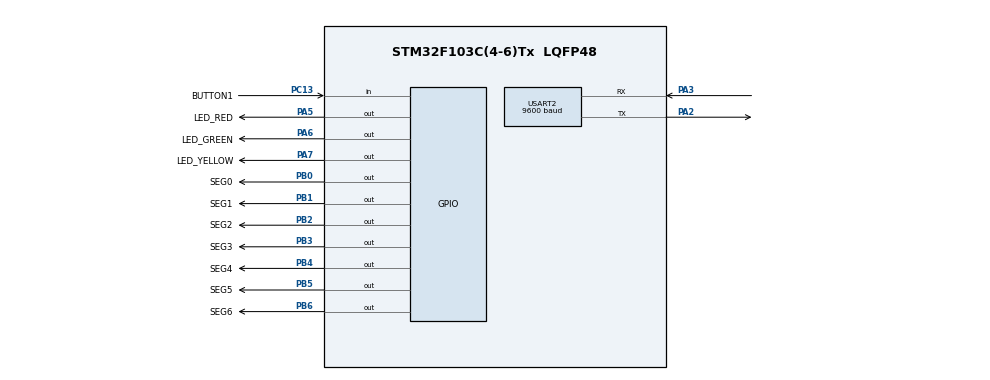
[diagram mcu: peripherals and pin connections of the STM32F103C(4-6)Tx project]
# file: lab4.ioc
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Mcu.Family=STM32F1
Mcu.Name=STM32F103C(4-6)Tx
Mcu.Package=LQFP48
NVIC.PriorityGroup=NVIC_PRIORITYGROUP_4
NVIC.TIM2_IRQn=true\:0\:0\:false\:false\:true\:true\:true\:true
NVIC.USART2_IRQn=true\:0\:0\:false\:false\:true\:true\:true\:true
PA2.Mode=Asynchronous
PA2.Signal=USART2_TX
PA3.Mode=Asynchronous
PA3.Signal=USART2_RX
PA5.GPIO_Label=LED_RED
PA5.Signal=GPIO_Output
PA6.GPIO_Label=LED_GREEN
PA6.Signal=GPIO_Output
PA7.GPIO_Label=LED_YELLOW
PA7.Signal=GPIO_Output
PB0.GPIO_Label=SEG0
PB0.Signal=GPIO_Output
PB1.GPIO_Label=SEG1
PB1.Signal=GPIO_Output
PB2.GPIO_Label=SEG2
PB2.Signal=GPIO_Output
PB3.GPIO_Label=SEG3
PB3.Signal=GPIO_Output
PB4.GPIO_Label=SEG4
PB4.Signal=GPIO_Output
PB5.GPIO_Label=SEG5
PB5.Signal=GPIO_Output
PB6.GPIO_Label=SEG6
PB6.Signal=GPIO_Output
PC13-TAMPER-RTC.GPIO_Label=BUTTON1
PC13-TAMPER-RTC.GPIO_PuPd=GPIO_PULLUP
PC13-TAMPER-RTC.Signal=GPIO_Input
ProjectManager.HeapSize=0x200
ProjectManager.StackSize=0x400
ProjectManager.TargetToolchain=STM32CubeIDE
RCC.APB1Freq_Value=8000000
RCC.APB2Freq_Value=8000000
TIM2.Period=9
TIM2.Prescaler=7999
USART2.BaudRate=9600
USART2.VirtualMode=VM_ASYNC
VP_TIM2_VS_ClockSourceINT.Mode=Internal
board=custom

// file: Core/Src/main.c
/* USER CODE BEGIN Header */
/**
  ******************************************************************************
  * @file           : main.c
  * @brief          : Main program body
  ******************************************************************************
  * @attention
  *
  * Copyright (c) 2022 STMicroelectronics.
  * All rights reserved.
  *
  * This software is licensed under terms that can be found in the LICENSE file
  * in the root directory of this software component.
  * If no LICENSE file comes with this software, it is provided AS-IS.
  *
  ******************************************************************************
  */
/* USER CODE END Header */
#include "main.h"

/* USER CODE BEGIN Includes */
#include "scheduler.h"
#include "led7seg.h"
#include "timer.h"
#include <stdint.h>
#include <stdio.h>
/* USER CODE END Includes */

TIM_HandleTypeDef htim2;

UART_HandleTypeDef huart2;

void SystemClock_Config(void);
static void MX_GPIO_Init(void);
static void MX_TIM2_Init(void);
static void MX_USART2_UART_Init(void);

/* USER CODE BEGIN 0 */
int time_stand;
void HAL_TIM_PeriodElapsedCallback ( TIM_HandleTypeDef * htim ){
	SCH_Update();
	timer1_run();

}
char str[50];

void led1test(){
	HAL_GPIO_TogglePin(LED_RED_GPIO_Port, LED_RED_Pin);
	HAL_UART_Transmit(&huart2 ,(void*)str,sprintf(str,"Time stand: %d led1test \r\n"
		  		,time_stand),1000) ;
}
void led2test(){
	HAL_GPIO_TogglePin(LED_GREEN_GPIO_Port, LED_GREEN_Pin);
	HAL_UART_Transmit(&huart2 ,(void*)str,sprintf(str,"Time stand: %d led2test \r\n"
			  		,time_stand),1000) ;
}
void led3test(){
	HAL_GPIO_TogglePin(LED_YELLOW_GPIO_Port, LED_YELLOW_Pin);
	HAL_UART_Transmit(&huart2 ,(void*)str,sprintf(str,"Time stand: %d led3test \r\n"
				  		,time_stand),1000) ;

}
int count=0;
void led7seg(){
	if(count>=10) count=0;
	display_led7_seg(count++);
	HAL_UART_Transmit(&huart2 ,(void*)str,sprintf(str,"Time stand: %d led7seg \r\n"
					  		,time_stand),1000) ;
}
void printHelloWorld(){
	HAL_UART_Transmit(&huart2 ,(void*)str,sprintf(str,"Time stand: %d Hello World! \r\n"
						  		,time_stand),1000) ;
}
/* USER CODE END 0 */

int main(void)
{

  /* MCU Configuration--------------------------------------------------------*/

  /* Reset of all peripherals, Initializes the Flash interface and the Systick. */
  HAL_Init();

  /* USER CODE BEGIN Init */
  time_stand=0;
  /* USER CODE END Init */

  /* Configure the system clock */
  SystemClock_Config();

  /* Initialize all configured peripherals */
  MX_GPIO_Init();
  MX_TIM2_Init();
  MX_USART2_UART_Init();
  /* USER CODE BEGIN 2 */
  HAL_TIM_Base_Start_IT(&htim2);
  /* USER CODE END 2 */

  /* Infinite loop */
  /* USER CODE BEGIN WHILE */
  SCH_Add_Task(led7seg,0,100);
  SCH_Add_Task(led1test,5,50);
  SCH_Add_Task(led2test,10,200);
  SCH_Add_Task(led3test,15,150);
  SCH_Add_Task(printHelloWorld, 20, 200);
  setTimer1(500);
  while (1)
  {
	  SCH_Dispatch_Tasks();
    /* USER CODE END WHILE */
	  if(timer1_flag==1){
		  time_stand++;
		  setTimer1(500);
	  }
  }
}

void SystemClock_Config(void)
{
  RCC_OscInitTypeDef RCC_OscInitStruct = {0};
  RCC_ClkInitTypeDef RCC_ClkInitStruct = {0};

  /** Initializes the RCC Oscillators according to the specified parameters
  * in the RCC_OscInitTypeDef structure.
  */
  RCC_OscInitStruct.OscillatorType = RCC_OSCILLATORTYPE_HSI;
  RCC_OscInitStruct.HSIState = RCC_HSI_ON;
  RCC_OscInitStruct.HSICalibrationValue = RCC_HSICALIBRATION_DEFAULT;
  RCC_OscInitStruct.PLL.PLLState = RCC_PLL_NONE;
  if (HAL_RCC_OscConfig(&RCC_OscInitStruct) != HAL_OK)
  {
    Error_Handler();
  }

  /** Initializes the CPU, AHB and APB buses clocks
  */
  RCC_ClkInitStruct.ClockType = RCC_CLOCKTYPE_HCLK|RCC_CLOCKTYPE_SYSCLK
                              |RCC_CLOCKTYPE_PCLK1|RCC_CLOCKTYPE_PCLK2;
  RCC_ClkInitStruct.SYSCLKSource = RCC_SYSCLKSOURCE_HSI;
  RCC_ClkInitStruct.AHBCLKDivider = RCC_SYSCLK_DIV1;
  RCC_ClkInitStruct.APB1CLKDivider = RCC_HCLK_DIV1;
  RCC_ClkInitStruct.APB2CLKDivider = RCC_HCLK_DIV1;

  if (HAL_RCC_ClockConfig(&RCC_ClkInitStruct, FLASH_LATENCY_0) != HAL_OK)
  {
    Error_Handler();
  }
}

static void MX_TIM2_Init(void)
{

  TIM_ClockConfigTypeDef sClockSourceConfig = {0};
  TIM_MasterConfigTypeDef sMasterConfig = {0};

  htim2.Instance = TIM2;
  htim2.Init.Prescaler = 7999;
  htim2.Init.CounterMode = TIM_COUNTERMODE_UP;
  htim2.Init.Period = 9;
  htim2.Init.ClockDivision = TIM_CLOCKDIVISION_DIV1;
  htim2.Init.AutoReloadPreload = TIM_AUTORELOAD_PRELOAD_DISABLE;
  if (HAL_TIM_Base_Init(&htim2) != HAL_OK)
  {
    Error_Handler();
  }
  sClockSourceConfig.ClockSource = TIM_CLOCKSOURCE_INTERNAL;
  if (HAL_TIM_ConfigClockSource(&htim2, &sClockSourceConfig) != HAL_OK)
  {
    Error_Handler();
  }
  sMasterConfig.MasterOutputTrigger = TIM_TRGO_RESET;
  sMasterConfig.MasterSlaveMode = TIM_MASTERSLAVEMODE_DISABLE;
  if (HAL_TIMEx_MasterConfigSynchronization(&htim2, &sMasterConfig) != HAL_OK)
  {
    Error_Handler();
  }

}

static void MX_USART2_UART_Init(void)
{

  huart2.Instance = USART2;
  huart2.Init.BaudRate = 9600;
  huart2.Init.WordLength = UART_WORDLENGTH_8B;
  huart2.Init.StopBits = UART_STOPBITS_1;
  huart2.Init.Parity = UART_PARITY_NONE;
  huart2.Init.Mode = UART_MODE_TX_RX;
  huart2.Init.HwFlowCtl = UART_HWCONTROL_NONE;
  huart2.Init.OverSampling = UART_OVERSAMPLING_16;
  if (HAL_UART_Init(&huart2) != HAL_OK)
  {
    Error_Handler();
  }

}

static void MX_GPIO_Init(void)
{
  GPIO_InitTypeDef GPIO_InitStruct = {0};

  /* GPIO Ports Clock Enable */
  __HAL_RCC_GPIOC_CLK_ENABLE();
  __HAL_RCC_GPIOA_CLK_ENABLE();
  __HAL_RCC_GPIOB_CLK_ENABLE();

  /*Configure GPIO pin Output Level */
  HAL_GPIO_WritePin(GPIOA, LED_RED_Pin|LED_GREEN_Pin|LED_YELLOW_Pin, GPIO_PIN_RESET);

  /*Configure GPIO pin Output Level */
  HAL_GPIO_WritePin(GPIOB, SEG0_Pin|SEG1_Pin|SEG2_Pin|SEG3_Pin
                          |SEG4_Pin|SEG5_Pin|SEG6_Pin, GPIO_PIN_RESET);

  /*Configure GPIO pin : BUTTON1_Pin */
  GPIO_InitStruct.Pin = BUTTON1_Pin;
  GPIO_InitStruct.Mode = GPIO_MODE_INPUT;
  GPIO_InitStruct.Pull = GPIO_PULLUP;
  HAL_GPIO_Init(BUTTON1_GPIO_Port, &GPIO_InitStruct);

  /*Configure GPIO pins : LED_RED_Pin LED_GREEN_Pin LED_YELLOW_Pin */
  GPIO_InitStruct.Pin = LED_RED_Pin|LED_GREEN_Pin|LED_YELLOW_Pin;
  GPIO_InitStruct.Mode = GPIO_MODE_OUTPUT_PP;
  GPIO_InitStruct.Pull = GPIO_NOPULL;
  GPIO_InitStruct.Speed = GPIO_SPEED_FREQ_LOW;
  HAL_GPIO_Init(GPIOA, &GPIO_InitStruct);

  /*Configure GPIO pins : SEG0_Pin SEG1_Pin SEG2_Pin SEG3_Pin
                           SEG4_Pin SEG5_Pin SEG6_Pin */
  GPIO_InitStruct.Pin = SEG0_Pin|SEG1_Pin|SEG2_Pin|SEG3_Pin
                          |SEG4_Pin|SEG5_Pin|SEG6_Pin;
  GPIO_InitStruct.Mode = GPIO_MODE_OUTPUT_PP;
  GPIO_InitStruct.Pull = GPIO_NOPULL;
  GPIO_InitStruct.Speed = GPIO_SPEED_FREQ_LOW;
  HAL_GPIO_Init(GPIOB, &GPIO_InitStruct);

}

void Error_Handler(void)
{
  __disable_irq();
  while (1)
  {
  }
}
